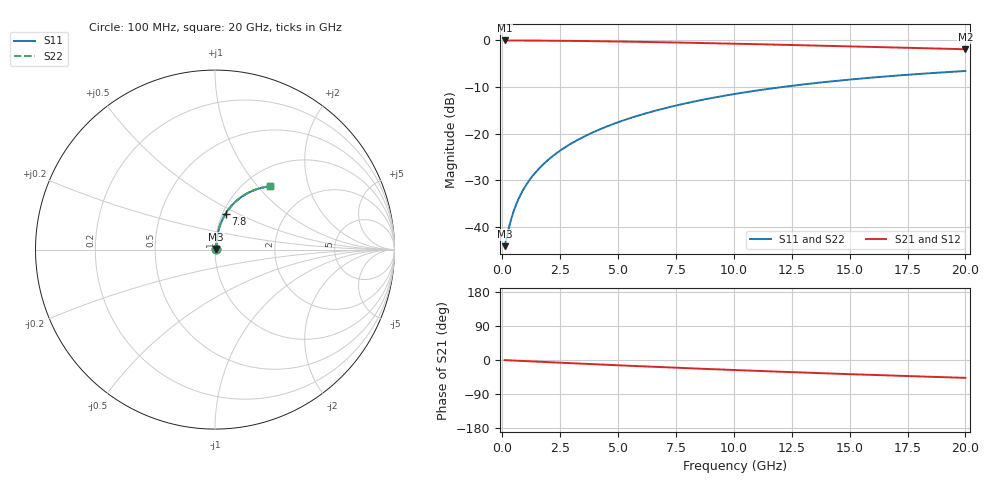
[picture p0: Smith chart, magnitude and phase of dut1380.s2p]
! Touchstone file exported from HFSS 2024.1.0
!  File:  C:/UserFiles/LocalFiles/RDL_TSV_Batchsim/temp_RDL_top_1380_1780367332.aedt
!  Generated:  10:31:03 AM Jun  2, 2026
!  Design:  RDL_top
!  Project:  temp_RDL_top_1380_1780367332
!  Setup:  Setup1
!  Solution:  Sweep
! Variables:
!  dtsv = 10.80580581um
!  hbump = 3um
!  htsv = 54.67um
!  ldown = 100um
!  lrdl = 622.38um
!  p = 40
!  p1 = 54.54um
!  rhole = 1um
!  t = 450um
!  tdown = 3.915915916um
!  trdl = 2.18um
!  wdown = 15.38538539um
!  wrdl = 18.88um
# GHz S MA R 50.000000
! Terminal data exported
! Port[1] = Box2_T1
! Port[2] = Box2_T2
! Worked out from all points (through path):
!   200 points, 100 MHz to 20 GHz, reference 50 ohm
!   highest |S21| = -0.05 dB at 100 MHz (marker M1); lowest = -1.9 dB at 20 GHz (marker M2)
!   group delay of S21, straight-line fit = 6.52 ps
!   lowest |S11| = -44.1 dB at 100 MHz (marker M3), VSWR 1.01, Z = 50.6 + j0.283 ohm
!   |S11| at or under -10 dB: start of sweep to 12.12 GHz
!   |S22| runs from -44.1 to -6.6 dB; largest |S21 - S12| = 6.4e-15
!   S11 on the Smith chart (normalised r, x): 100 MHz: 1.01, +0.01; 7.8 GHz: 1.03, +0.43; 20 GHz: 1.30, +1.17
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0.1  0.006241 26.6  0.9944 -0.3  0.9944 -0.3  0.006241 26.6
! Gamma 0 0 0 0
! Port Impedance 50 0 50 0
0.3  0.01016 54.8  0.9941 -0.9  0.9941 -0.9  0.01016 54.8
0.4  0.01255 61.2  0.9939 -1.2  0.9939 -1.2  0.01255 61.2
0.5  0.015 65.3  0.9936 -1.5  0.9936 -1.5  0.015 65.3
0.6  0.01749 68.2  0.9934 -1.8  0.9934 -1.8  0.01749 68.2
0.7  0.01998 70.4  0.9931 -2.1  0.9931 -2.1  0.01998 70.4
0.9  0.02497 73.4  0.9925 -2.6  0.9925 -2.6  0.02497 73.4
1.2  0.0325 76.2  0.9917 -3.5  0.9917 -3.5  0.0325 76.2
1.4  0.03755 77.4  0.991 -4.0  0.991 -4.0  0.03755 77.4
1.7  0.04518 78.6  0.99 -4.9  0.99 -4.9  0.04518 78.6
2.2  0.05804 79.7  0.9879 -6.3  0.9879 -6.3  0.05804 79.7
2.8  0.07368 80.2  0.9848 -8.0  0.9848 -8.0  0.07368 80.2
3.5  0.09218 80.1  0.9806 -9.9  0.9806 -9.9  0.09217 80.1
4.2  0.1109 79.5  0.9757 -11.8  0.9757 -11.8  0.1109 79.5
5  0.1324 78.6  0.9693 -14.0  0.9693 -14.0  0.1324 78.6
5.9  0.1568 77.2  0.9614 -16.3  0.9614 -16.3  0.1568 77.2
6.8  0.1811 75.6  0.9527 -18.6  0.9527 -18.6  0.1811 75.6
7.8  0.2079 73.7  0.9425 -21.1  0.9425 -21.1  0.2079 73.6
10.1  0.2674 68.8  0.9172 -26.6  0.9172 -26.6  0.2673 68.8
13.4  0.3452 61.8  0.8785 -34.0  0.8785 -34.0  0.3451 61.8
16.7  0.4122 55.0  0.8391 -40.8  0.8391 -40.8  0.4121 55.0
20  0.4683 48.8  0.8009 -47.1  0.8009 -47.1  0.4681 48.8
